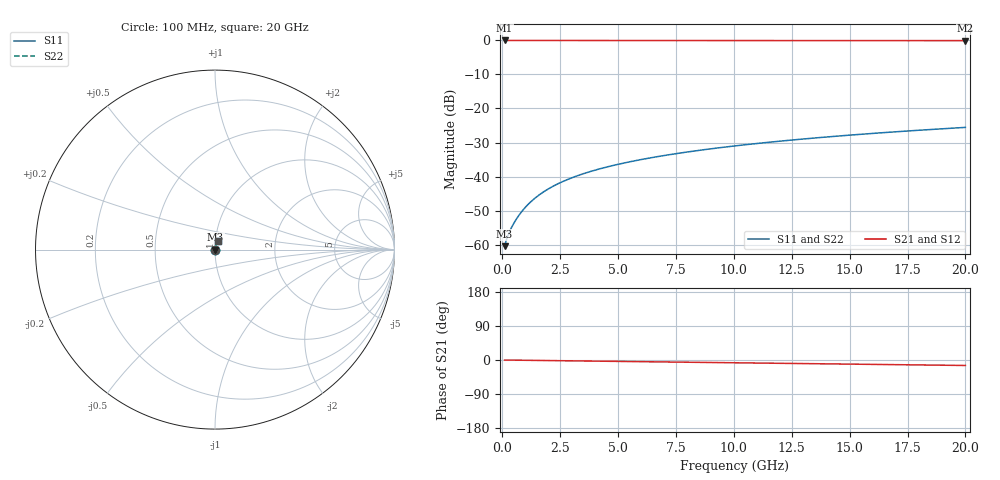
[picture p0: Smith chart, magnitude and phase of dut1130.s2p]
! Touchstone file exported from HFSS 2026.1.0
!  File:  C:/ffzhzh/LocalFiles/Ansys_Project_Files/temp_train_TMRDL_1130_1783161766_22436.aedt
!  Generated:  06:43:55 PM Jul  4, 2026
!  Design:  TMRDL
!  Project:  temp_train_TMRDL_1130_1783161766_22436
! Variables:
!  h_bsmrdl = 2um
!  h_ox = 20um
!  h_rdl = 5um
!  h_sub = 80um
!  h_tmrdl = 5.73um
!  h_tsv = 80um
!  h_via = 3um
!  l_bsmrdl = 300um
!  l_sub = 639.4um
!  l_tmrdl = 239.4um
!  m_sub = 200um
!  pitch = 31.56um
!  r_tsv = 6um
!  s_tmrdl = 10um
!  w_bsmrdl = 18um
!  w_sub = 500um
!  w_tmrdl = 22.49um
!  x_tsv_center1 = 250.645um
!  x_tsv_center2 = 568.645um
!  x_tsv_center3 = 830.535um
!  x_tsv_center4 = 1148.535um
!  x_tsv_center5 = 1410.425um
!  x_tsv_center6 = 1728.425um
# GHz S MA R 50.000000
! Terminal data exported
! Port[1] = TM_RDL1_1_T1
! Port[2] = TM_RDL1_1_T2
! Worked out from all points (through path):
!   200 points, 100 MHz to 20 GHz, reference 50 ohm
!   highest |S21| = -0.01 dB at 100 MHz (marker M1); lowest = -0.1 dB at 20 GHz (marker M2)
!   group delay of S21, straight-line fit = 2 ps
!   lowest |S11| = -60.5 dB at 100 MHz (marker M3), VSWR 1.00, Z = 50.1 + j0.0458 ohm
!   |S11| at or under -10 dB: start of sweep to end of sweep
!   |S22| runs from -60.5 to -25.6 dB; largest |S21 - S12| = 1.4e-14
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0.1  0.000949 28.8  0.9992 -0.1  0.9992 -0.1  0.000949 28.8
! Gamma 0 0 0 0
! Port Impedance 50 0 50 0
0.2  0.001243 41.3  0.9991 -0.2  0.9991 -0.2  0.001243 41.3
0.3  0.001518 48.5  0.999 -0.2  0.999 -0.2  0.001518 48.5
0.5  0.002065 58.1  0.9989 -0.4  0.9989 -0.4  0.002065 58.1
0.6  0.00235 61.4  0.9989 -0.5  0.9989 -0.5  0.00235 61.4
0.8  0.00294 66.2  0.9988 -0.6  0.9988 -0.6  0.00294 66.2
1  0.003548 69.3  0.9988 -0.8  0.9988 -0.8  0.003548 69.3
1.2  0.004163 71.4  0.9987 -0.9  0.9987 -0.9  0.004163 71.4
1.4  0.004781 72.8  0.9986 -1.1  0.9986 -1.1  0.004781 72.8
1.7  0.005706 74.2  0.9985 -1.3  0.9985 -1.3  0.005706 74.2
2.2  0.007226 75.4  0.9983 -1.7  0.9983 -1.7  0.007226 75.4
2.8  0.009004 75.9  0.9981 -2.1  0.9981 -2.1  0.009004 75.9
3.5  0.01101 76.1  0.9978 -2.6  0.9978 -2.6  0.01101 76.1
4.2  0.01296 76.0  0.9975 -3.1  0.9975 -3.1  0.01296 76.0
5  0.01513 75.9  0.9972 -3.7  0.9972 -3.7  0.01513 75.9
5.9  0.01752 75.7  0.9968 -4.4  0.9968 -4.4  0.01752 75.7
6.8  0.01988 75.5  0.9965 -5.0  0.9965 -5.0  0.01988 75.5
8.3  0.02376 75.0  0.996 -6.1  0.996 -6.1  0.02376 75.0
10.1  0.02835 74.3  0.9955 -7.4  0.9955 -7.4  0.02836 74.3
13.4  0.03665 72.8  0.9946 -9.7  0.9946 -9.7  0.03665 72.8
16.7  0.04478 71.1  0.9937 -12.1  0.9937 -12.1  0.04478 71.1
20  0.05276 69.2  0.9927 -14.4  0.9927 -14.4  0.05276 69.2
